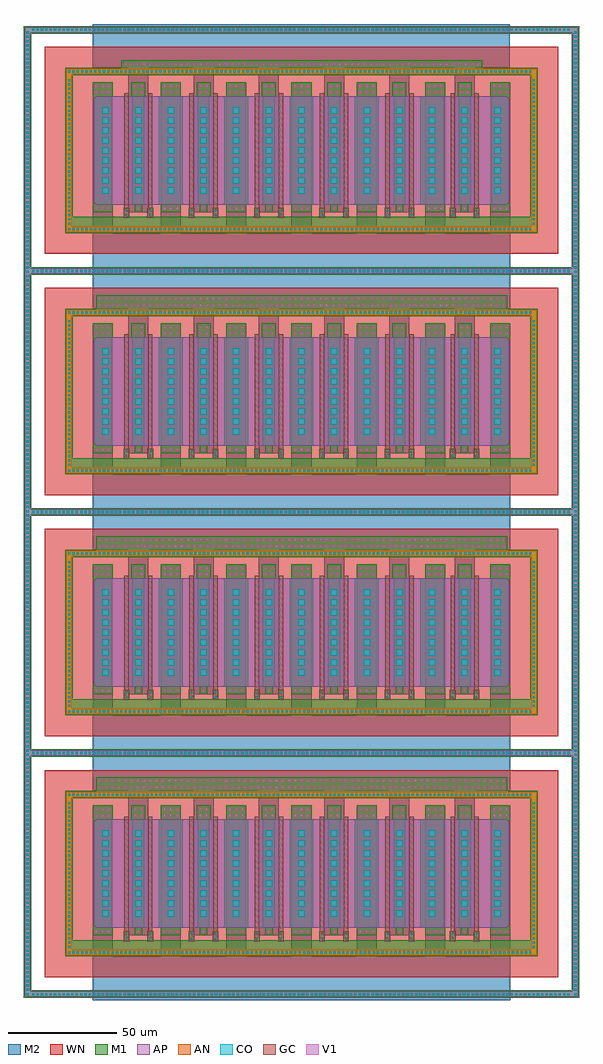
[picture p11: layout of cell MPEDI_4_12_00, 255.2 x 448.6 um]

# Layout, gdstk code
import gdstk
lib = gdstk.Library(unit=1e-6, precision=1e-09)
def R(c, l, rs):  # rectangles x0, y0, x1, y1
    for r in rs: c.add(gdstk.rectangle(r[:2], r[2:], *l))
def A(c, l, x, y, w, h, nx, ny, dx, dy):  # array of equal rectangles
    R(c, l, [(x+i*dx, y+j*dy, x+i*dx+w, y+j*dy+h) for i in range(nx) for j in range(ny)])
def P(c, l, *ps):  # polygons
    for p in ps: c.add(gdstk.Polygon(p, *l))
AP = (3, 1)
AN = (3, 2)
GC = (8, 1)
CO = (11, 0)
M1 = (13, 0)
V1 = (19, 0)
M2 = (20, 0)
WN = (140, 0)

wlmp_cdns_696587145850 = lib.new_cell('WLMP_CDNS_696587145850')
R(wlmp_cdns_696587145850, WN, [(1.5,1.5,237.7,96.7)])

tc14_cdns_696587145850 = lib.new_cell('TC14_CDNS_696587145850')
R(tc14_cdns_696587145850, M1, [(-82.9,-1.7,82.9,1.7)])
A(tc14_cdns_696587145850, V1, -81.9, -0.7, 1.4, 1.4, 57, 1, 2.9, 0)
R(tc14_cdns_696587145850, M2, [(-82.9,-1.7,82.9,1.7)])

sgct_cdns_696587145851 = lib.new_cell('SGCT_CDNS_696587145851')
R(sgct_cdns_696587145851, GC, [(-1.3,-2.3,1.3,2.3)])
R(sgct_cdns_696587145851, CO, [(-0.5,-1.5,0.5,-0.5), (-0.5,0.5,0.5,1.5)])
R(sgct_cdns_696587145851, M1, [(-1.3,-2.3,1.3,2.3)])

tc14_cdns_696587145852 = lib.new_cell('TC14_CDNS_696587145852')
R(tc14_cdns_696587145852, M1, [(-4.6,-1.7,4.6,1.7)])
A(tc14_cdns_696587145852, V1, -3.6, -0.7, 1.4, 1.4, 3, 1, 2.9, 0)
R(tc14_cdns_696587145852, M2, [(-4.6,-1.7,4.6,1.7)])

tc14_cdns_696587145853 = lib.new_cell('TC14_CDNS_696587145853')
R(tc14_cdns_696587145853, M1, [(-4.6,-3.1,4.6,3.2)])
A(tc14_cdns_696587145853, V1, -3.6, -2.1, 1.4, 1.4, 3, 2, 2.9, 2.9)
R(tc14_cdns_696587145853, M2, [(-4.6,-3.1,4.6,3.2)])

tc14_cdns_696587145854 = lib.new_cell('TC14_CDNS_696587145854')
R(tc14_cdns_696587145854, M1, [(-1.7,-3.1,1.7,3.2)])
R(tc14_cdns_696587145854, V1, [(-0.7,-2.1,0.7,-0.7), (-0.7,0.8,0.7,2.2)])
R(tc14_cdns_696587145854, M2, [(-1.7,-3.1,1.7,3.2)])

tc14_cdns_696587145855 = lib.new_cell('TC14_CDNS_696587145855')
R(tc14_cdns_696587145855, M1, [(-1.7,-1.7,1.7,1.7)])
R(tc14_cdns_696587145855, V1, [(-0.7,-0.7,0.7,0.7)])
R(tc14_cdns_696587145855, M2, [(-1.7,-1.7,1.7,1.7)])

mpedi_12_00_int = lib.new_cell('MPEDI_12_00_int')
P(mpedi_12_00_int, AP, [(25.5,24.1),(24.1,25.5),(24.1,72.7),(25.5,74.1),(213.7,74.1),(215.1,72.7),(215.1,25.5),(213.7,24.1)])
P(mpedi_12_00_int, AN, [(11.5,11.5),(11.5,84.1),(14.1,84.1),(14.1,14.1),(225.1,14.1),(225.1,84.1),(11.5,84.1),(11.5,86.7),(227.7,86.7),(227.7,11.5)],
  [(11.5,11.5),(11.5,84.1),(14.1,84.1),(14.1,14.1),(225.1,14.1),(225.1,84.1),(11.5,84.1),(11.5,86.7),(227.7,86.7),(227.7,11.5)])
R(mpedi_12_00_int, GC, [(38.1,22.7,40.1,75.3), (49.1,22.7,51.1,75.3), (68.1,22.7,70.1,75.3), (79.1,22.7,81.1,75.3), (98.1,22.7,100.1,75.3), (109.1,22.7,111.1,75.3), (128.1,22.7,130.1,75.3), (139.1,22.7,141.1,75.3), (158.1,22.7,160.1,75.3), (169.1,22.7,171.1,75.3), (188.1,22.7,190.1,75.3), (199.1,22.7,201.1,75.3)])
A(mpedi_12_00_int, CO, 12.3, 12.3, 1, 1, 107, 2, 2, 72.6)
A(mpedi_12_00_int, CO, 12.3, 14.9, 1, 1, 1, 34, 0, 2)
A(mpedi_12_00_int, CO, 225.9, 14.9, 1, 1, 1, 34, 0, 2)
A(mpedi_12_00_int, CO, 28.1, 29.2, 3, 3, 1, 9, 0, 4.6)
A(mpedi_12_00_int, CO, 208.1, 29.2, 3, 3, 1, 9, 0, 4.6)
R(mpedi_12_00_int, CO, [(43.1,29.2,46.1,32.2), (43.1,29.2,46.1,32.2), (58.1,29.2,61.1,32.2), (58.1,29.2,61.1,32.2), (73.1,29.2,76.1,32.2), (73.1,29.2,76.1,32.2), (88.1,29.2,91.1,32.2), (88.1,29.2,91.1,32.2), (103.1,29.2,106.1,32.2), (103.1,29.2,106.1,32.2), (118.1,29.2,121.1,32.2), (118.1,29.2,121.1,32.2), (133.1,29.2,136.1,32.2), (133.1,29.2,136.1,32.2), (148.1,29.2,151.1,32.2), (148.1,29.2,151.1,32.2), (163.1,29.2,166.1,32.2), (163.1,29.2,166.1,32.2), (178.1,29.2,181.1,32.2), (178.1,29.2,181.1,32.2), (193.1,29.2,196.1,32.2), (193.1,29.2,196.1,32.2), (43.1,33.8,46.1,36.8), (43.1,33.8,46.1,36.8), (58.1,33.8,61.1,36.8), (58.1,33.8,61.1,36.8), (73.1,33.8,76.1,36.8), (73.1,33.8,76.1,36.8), (88.1,33.8,91.1,36.8), (88.1,33.8,91.1,36.8), (103.1,33.8,106.1,36.8), (103.1,33.8,106.1,36.8), (118.1,33.8,121.1,36.8), (118.1,33.8,121.1,36.8), (133.1,33.8,136.1,36.8), (133.1,33.8,136.1,36.8), (148.1,33.8,151.1,36.8), (148.1,33.8,151.1,36.8), (163.1,33.8,166.1,36.8), (163.1,33.8,166.1,36.8), (178.1,33.8,181.1,36.8), (178.1,33.8,181.1,36.8), (193.1,33.8,196.1,36.8), (193.1,33.8,196.1,36.8), (43.1,38.4,46.1,41.4), (43.1,38.4,46.1,41.4), (58.1,38.4,61.1,41.4), (58.1,38.4,61.1,41.4), (73.1,38.4,76.1,41.4), (73.1,38.4,76.1,41.4), (88.1,38.4,91.1,41.4), (88.1,38.4,91.1,41.4), (103.1,38.4,106.1,41.4), (103.1,38.4,106.1,41.4), (118.1,38.4,121.1,41.4), (118.1,38.4,121.1,41.4), (133.1,38.4,136.1,41.4), (133.1,38.4,136.1,41.4), (148.1,38.4,151.1,41.4), (148.1,38.4,151.1,41.4), (163.1,38.4,166.1,41.4), (163.1,38.4,166.1,41.4), (178.1,38.4,181.1,41.4), (178.1,38.4,181.1,41.4), (193.1,38.4,196.1,41.4), (193.1,38.4,196.1,41.4), (43.1,43,46.1,46), (43.1,43,46.1,46), (58.1,43,61.1,46), (58.1,43,61.1,46), (73.1,43,76.1,46), (73.1,43,76.1,46), (88.1,43,91.1,46), (88.1,43,91.1,46), (103.1,43,106.1,46), (103.1,43,106.1,46), (118.1,43,121.1,46), (118.1,43,121.1,46), (133.1,43,136.1,46), (133.1,43,136.1,46), (148.1,43,151.1,46), (148.1,43,151.1,46), (163.1,43,166.1,46), (163.1,43,166.1,46), (178.1,43,181.1,46), (178.1,43,181.1,46), (193.1,43,196.1,46), (193.1,43,196.1,46), (43.1,47.6,46.1,50.6), (43.1,47.6,46.1,50.6), (58.1,47.6,61.1,50.6), (58.1,47.6,61.1,50.6), (73.1,47.6,76.1,50.6), (73.1,47.6,76.1,50.6), (88.1,47.6,91.1,50.6), (88.1,47.6,91.1,50.6), (103.1,47.6,106.1,50.6), (103.1,47.6,106.1,50.6), (118.1,47.6,121.1,50.6), (118.1,47.6,121.1,50.6), (133.1,47.6,136.1,50.6), (133.1,47.6,136.1,50.6), (148.1,47.6,151.1,50.6), (148.1,47.6,151.1,50.6), (163.1,47.6,166.1,50.6), (163.1,47.6,166.1,50.6), (178.1,47.6,181.1,50.6), (178.1,47.6,181.1,50.6), (193.1,47.6,196.1,50.6), (193.1,47.6,196.1,50.6), (43.1,52.2,46.1,55.2), (43.1,52.2,46.1,55.2), (58.1,52.2,61.1,55.2), (58.1,52.2,61.1,55.2), (73.1,52.2,76.1,55.2), (73.1,52.2,76.1,55.2), (88.1,52.2,91.1,55.2), (88.1,52.2,91.1,55.2), (103.1,52.2,106.1,55.2), (103.1,52.2,106.1,55.2), (118.1,52.2,121.1,55.2), (118.1,52.2,121.1,55.2), (133.1,52.2,136.1,55.2), (133.1,52.2,136.1,55.2), (148.1,52.2,151.1,55.2), (148.1,52.2,151.1,55.2), (163.1,52.2,166.1,55.2), (163.1,52.2,166.1,55.2), (178.1,52.2,181.1,55.2), (178.1,52.2,181.1,55.2), (193.1,52.2,196.1,55.2), (193.1,52.2,196.1,55.2), (43.1,56.8,46.1,59.8), (43.1,56.8,46.1,59.8), (58.1,56.8,61.1,59.8), (58.1,56.8,61.1,59.8), (73.1,56.8,76.1,59.8), (73.1,56.8,76.1,59.8), (88.1,56.8,91.1,59.8), (88.1,56.8,91.1,59.8), (103.1,56.8,106.1,59.8), (103.1,56.8,106.1,59.8), (118.1,56.8,121.1,59.8), (118.1,56.8,121.1,59.8), (133.1,56.8,136.1,59.8), (133.1,56.8,136.1,59.8), (148.1,56.8,151.1,59.8), (148.1,56.8,151.1,59.8), (163.1,56.8,166.1,59.8), (163.1,56.8,166.1,59.8), (178.1,56.8,181.1,59.8), (178.1,56.8,181.1,59.8), (193.1,56.8,196.1,59.8), (193.1,56.8,196.1,59.8), (43.1,61.4,46.1,64.4), (43.1,61.4,46.1,64.4), (58.1,61.4,61.1,64.4), (58.1,61.4,61.1,64.4), (73.1,61.4,76.1,64.4), (73.1,61.4,76.1,64.4), (88.1,61.4,91.1,64.4), (88.1,61.4,91.1,64.4), (103.1,61.4,106.1,64.4), (103.1,61.4,106.1,64.4), (118.1,61.4,121.1,64.4), (118.1,61.4,121.1,64.4), (133.1,61.4,136.1,64.4), (133.1,61.4,136.1,64.4), (148.1,61.4,151.1,64.4), (148.1,61.4,151.1,64.4), (163.1,61.4,166.1,64.4), (163.1,61.4,166.1,64.4), (178.1,61.4,181.1,64.4), (178.1,61.4,181.1,64.4), (193.1,61.4,196.1,64.4), (193.1,61.4,196.1,64.4), (43.1,66,46.1,69), (43.1,66,46.1,69), (58.1,66,61.1,69), (58.1,66,61.1,69), (73.1,66,76.1,69), (73.1,66,76.1,69), (88.1,66,91.1,69), (88.1,66,91.1,69), (103.1,66,106.1,69), (103.1,66,106.1,69), (118.1,66,121.1,69), (118.1,66,121.1,69), (133.1,66,136.1,69), (133.1,66,136.1,69), (148.1,66,151.1,69), (148.1,66,151.1,69), (163.1,66,166.1,69), (163.1,66,166.1,69), (178.1,66,181.1,69), (178.1,66,181.1,69), (193.1,66,196.1,69), (193.1,66,196.1,69)])
R(mpedi_12_00_int, M1, [(11.5,11.5,227.7,14.1), (11.5,14.1,14.1,84.1), (14.1,14.1,225.1,18.5), (225.1,14.1,227.7,84.1), (24.1,24.1,32.3,74.1), (41.9,24.1,47.3,74.1), (41.9,24.1,47.3,74.1), (54.1,24.1,62.3,74.1), (56.9,24.1,65.1,74.1), (71.9,24.1,77.3,74.1), (71.9,24.1,77.3,74.1), (84.1,24.1,92.3,74.1), (86.9,24.1,95.1,74.1), (101.9,24.1,107.3,74.1), (101.9,24.1,107.3,74.1), (114.1,24.1,122.3,74.1), (116.9,24.1,125.1,74.1), (131.9,24.1,137.3,74.1), (131.9,24.1,137.3,74.1), (144.1,24.1,152.3,74.1), (146.9,24.1,155.1,74.1), (161.9,24.1,167.3,74.1), (161.9,24.1,167.3,74.1), (174.1,24.1,182.3,74.1), (176.9,24.1,185.1,74.1), (191.9,24.1,197.3,74.1), (191.9,24.1,197.3,74.1), (206.9,24.1,215.1,74.1), (11.5,84.1,227.7,86.7)])
A(mpedi_12_00_int, M2, 55, 8.1, 9.2, 72.3, 4, 1, 30, 0)
A(mpedi_12_00_int, M2, 40, 20.7, 9.2, 69.8, 6, 1, 30, 0)
R(mpedi_12_00_int, M2, [(23.6,8.1,32.8,80.4), (23.6,8.1,25,9.5), (176.4,8.1,185.6,80.4), (206.4,8.1,215.6,80.4), (38,89.1,39.4,90.5)])
mpedi_12_00_int.add(gdstk.FlexPath([(170.1,19.4),(170.1,17.2),(39.1,17.2),(39.1,19.4)], 2.6, ends="flush", simple_path=True, layer=13, datatype=0))  # M1
mpedi_12_00_int.add(gdstk.FlexPath([(226.4,11.1),(226.4,87.1)], 3.4, ends="flush", simple_path=True, layer=13, datatype=0))  # M1
mpedi_12_00_int.add(gdstk.FlexPath([(12.8,11.1),(12.8,87.1)], 3.4, ends="flush", simple_path=True, layer=13, datatype=0))  # M1
mpedi_12_00_int.add(gdstk.FlexPath([(11.1,85.4),(228.1,85.4)], 3.4, ends="flush", simple_path=True, layer=13, datatype=0))  # M1
mpedi_12_00_int.add(gdstk.FlexPath([(11.1,12.8),(228.1,12.8)], 3.4, ends="flush", simple_path=True, layer=13, datatype=0))  # M1
mpedi_12_00_int.add(gdstk.FlexPath([(215.6,9.6),(23.6,9.6)], 3, ends="flush", simple_path=True, layer=20, datatype=0))  # M2
mpedi_12_00_int.add(gdstk.Reference(wlmp_cdns_696587145850, (0,0)))
mpedi_12_00_int.add(gdstk.Reference(tc14_cdns_696587145850, (119.7,88.8)))
mpedi_12_00_int.add(gdstk.Reference(sgct_cdns_696587145851, (200.1,20.4)))
mpedi_12_00_int.add(gdstk.Reference(sgct_cdns_696587145851, (189.1,20.4)))
mpedi_12_00_int.add(gdstk.Reference(sgct_cdns_696587145851, (170.1,20.4)))
mpedi_12_00_int.add(gdstk.Reference(sgct_cdns_696587145851, (159.1,20.4)))
mpedi_12_00_int.add(gdstk.Reference(sgct_cdns_696587145851, (140.1,20.4)))
mpedi_12_00_int.add(gdstk.Reference(sgct_cdns_696587145851, (129.1,20.4)))
mpedi_12_00_int.add(gdstk.Reference(sgct_cdns_696587145851, (110.1,20.4)))
mpedi_12_00_int.add(gdstk.Reference(sgct_cdns_696587145851, (99.1,20.4)))
mpedi_12_00_int.add(gdstk.Reference(sgct_cdns_696587145851, (80.1,20.4)))
mpedi_12_00_int.add(gdstk.Reference(sgct_cdns_696587145851, (69.1,20.4)))
mpedi_12_00_int.add(gdstk.Reference(sgct_cdns_696587145851, (50.1,20.4)))
mpedi_12_00_int.add(gdstk.Reference(sgct_cdns_696587145851, (39.1,20.4)))
mpedi_12_00_int.add(gdstk.Reference(tc14_cdns_696587145852, (211,22.4)))
mpedi_12_00_int.add(gdstk.Reference(tc14_cdns_696587145852, (181,22.4)))
mpedi_12_00_int.add(gdstk.Reference(tc14_cdns_696587145852, (149.6,22.4)))
mpedi_12_00_int.add(gdstk.Reference(tc14_cdns_696587145852, (119.6,22.4)))
mpedi_12_00_int.add(gdstk.Reference(tc14_cdns_696587145852, (89.6,22.4)))
mpedi_12_00_int.add(gdstk.Reference(tc14_cdns_696587145852, (59.6,22.4)))
mpedi_12_00_int.add(gdstk.Reference(tc14_cdns_696587145852, (28.2,22.4)))
mpedi_12_00_int.add(gdstk.Reference(tc14_cdns_696587145853, (211,77.2)))
mpedi_12_00_int.add(gdstk.Reference(tc14_cdns_696587145853, (181,77.2)))
mpedi_12_00_int.add(gdstk.Reference(tc14_cdns_696587145853, (149.6,77.2)))
mpedi_12_00_int.add(gdstk.Reference(tc14_cdns_696587145853, (119.6,77.2)))
mpedi_12_00_int.add(gdstk.Reference(tc14_cdns_696587145853, (89.6,77.2)))
mpedi_12_00_int.add(gdstk.Reference(tc14_cdns_696587145853, (59.6,77.2)))
mpedi_12_00_int.add(gdstk.Reference(tc14_cdns_696587145853, (28.2,77.2)))
mpedi_12_00_int.add(gdstk.Reference(tc14_cdns_696587145854, (196.1,77.2)))
mpedi_12_00_int.add(gdstk.Reference(tc14_cdns_696587145854, (193.1,77.2)))
mpedi_12_00_int.add(gdstk.Reference(tc14_cdns_696587145854, (166.1,77.2)))
mpedi_12_00_int.add(gdstk.Reference(tc14_cdns_696587145854, (163.1,77.2)))
mpedi_12_00_int.add(gdstk.Reference(tc14_cdns_696587145854, (136.1,77.2)))
mpedi_12_00_int.add(gdstk.Reference(tc14_cdns_696587145854, (133.1,77.2)))
mpedi_12_00_int.add(gdstk.Reference(tc14_cdns_696587145854, (106.1,77.2)))
mpedi_12_00_int.add(gdstk.Reference(tc14_cdns_696587145854, (103.1,77.2)))
mpedi_12_00_int.add(gdstk.Reference(tc14_cdns_696587145854, (76.1,77.2)))
mpedi_12_00_int.add(gdstk.Reference(tc14_cdns_696587145854, (73.1,77.2)))
mpedi_12_00_int.add(gdstk.Reference(tc14_cdns_696587145854, (46.1,77.2)))
mpedi_12_00_int.add(gdstk.Reference(tc14_cdns_696587145854, (43.1,77.2)))
mpedi_12_00_int.add(gdstk.Reference(tc14_cdns_696587145855, (194.6,22.4)))
mpedi_12_00_int.add(gdstk.Reference(tc14_cdns_696587145855, (164.6,22.4)))
mpedi_12_00_int.add(gdstk.Reference(tc14_cdns_696587145855, (134.6,22.4)))
mpedi_12_00_int.add(gdstk.Reference(tc14_cdns_696587145855, (104.6,22.4)))
mpedi_12_00_int.add(gdstk.Reference(tc14_cdns_696587145855, (74.6,22.4)))
mpedi_12_00_int.add(gdstk.Reference(tc14_cdns_696587145855, (44.7,22.4)))

tc14_cdns_696587074630 = lib.new_cell('TC14_CDNS_696587074630')
R(tc14_cdns_696587074630, M1, [(-94.5,-3,94.5,3.3)])
A(tc14_cdns_696587074630, V1, -93.5, -2, 1.4, 1.4, 65, 2, 2.9, 2.9)
R(tc14_cdns_696587074630, M2, [(-94.5,-3,94.5,3.3)])

mpedi_4_12_00 = lib.new_cell('MPEDI_4_12_00')
P(mpedi_4_12_00, AP, [(1.4,1.4),(1.4,112.2),(4,112.2),(4,4),(253.2,4),(253.2,112.2),(1.4,112.2),(1.4,223),(4,223),(4,114.8),(253.2,114.8),(253.2,223),(1.4,223),(1.4,333.8),(4,333.8),(4,225.6),(253.2,225.6),(253.2,333.8),(1.4,333.8),(1.4,444.6),(4,444.6),(4,336.4),(253.2,336.4),(253.2,444.6),(1.4,444.6),(1.4,447.2),(255.8,447.2),(255.8,1.4)])
A(mpedi_4_12_00, CO, 2.2, 2.2, 1, 1, 1, 222, 0, 2)
A(mpedi_4_12_00, CO, 4.8, 2.2, 1, 1, 124, 5, 2, 110.8)
A(mpedi_4_12_00, CO, 254, 2.2, 1, 1, 1, 222, 0, 2)
A(mpedi_4_12_00, M1, 4, 1.4, 249.2, 2.6, 1, 5, 0, 110.8)
R(mpedi_4_12_00, M1, [(1.4,1.4,4,447.2), (253.2,1.4,255.8,447.2)])
R(mpedi_4_12_00, M2, [(32.6,0,224.6,20.1), (32.6,0,224.6,20.1), (32.6,17.1,34,18.5), (32.6,96.1,224.6,130.9), (32.6,96.1,224.6,130.9), (32.6,206.9,224.6,241.7), (32.6,206.9,224.6,241.7), (32.6,317.7,224.6,337.8), (32.6,317.7,224.6,352.5), (32.6,428.5,224.4,448.6), (32.7,447.1,34.1,448.5)])
mpedi_4_12_00.add(gdstk.FlexPath([(1,113.5),(256.2,113.5)], 3.4, ends="flush", simple_path=True, layer=13, datatype=0))  # M1
mpedi_4_12_00.add(gdstk.FlexPath([(1,335.1),(256.2,335.1)], 3.4, ends="flush", simple_path=True, layer=13, datatype=0))  # M1
mpedi_4_12_00.add(gdstk.FlexPath([(1,224.3),(256.2,224.3)], 3.4, ends="flush", simple_path=True, layer=13, datatype=0))  # M1
mpedi_4_12_00.add(gdstk.FlexPath([(1,2.7),(256.2,2.7)], 3.4, ends="flush", simple_path=True, layer=13, datatype=0))  # M1
mpedi_4_12_00.add(gdstk.FlexPath([(254.5,1),(254.5,447.6)], 3.4, ends="flush", simple_path=True, layer=13, datatype=0))  # M1
mpedi_4_12_00.add(gdstk.FlexPath([(1,445.9),(256.2,445.9)], 3.4, ends="flush", simple_path=True, layer=13, datatype=0))  # M1
mpedi_4_12_00.add(gdstk.FlexPath([(2.7,1),(2.7,447.6)], 3.4, ends="flush", simple_path=True, layer=13, datatype=0))  # M1
mpedi_4_12_00.add(gdstk.Reference(mpedi_12_00_int, (9,9)))
mpedi_4_12_00.add(gdstk.Reference(mpedi_12_00_int, (9,119.8)))
mpedi_4_12_00.add(gdstk.Reference(mpedi_12_00_int, (9,230.6)))
mpedi_4_12_00.add(gdstk.Reference(mpedi_12_00_int, (9,341.4)))
mpedi_4_12_00.add(gdstk.Reference(tc14_cdns_696587074630, (128.7,320.7)))
mpedi_4_12_00.add(gdstk.Reference(tc14_cdns_696587074630, (128.7,99.1)))
mpedi_4_12_00.add(gdstk.Reference(tc14_cdns_696587074630, (128.7,209.9)))

lib.write_gds('MPEDI_4_12_00.gds')
